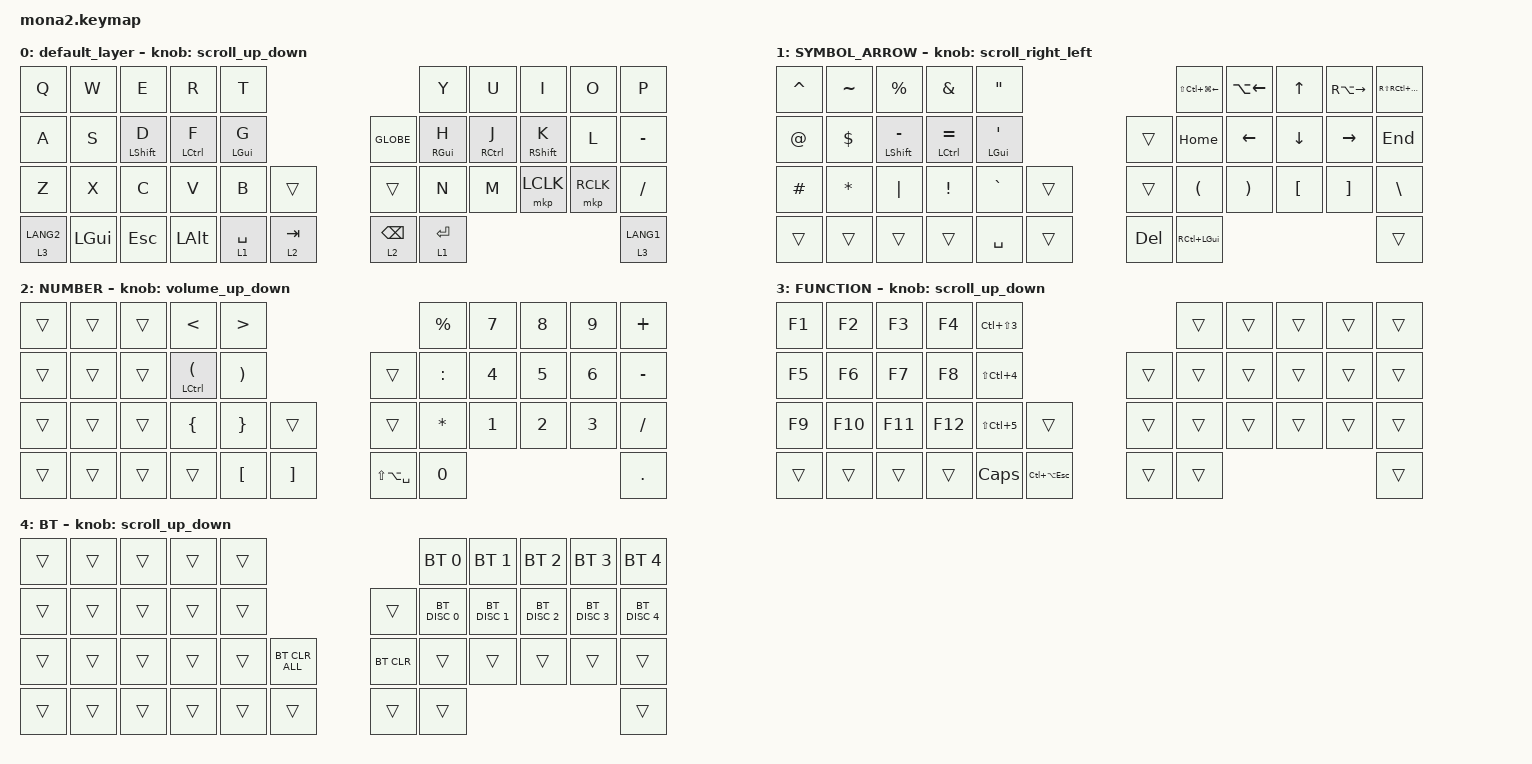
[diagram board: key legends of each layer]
#include <input/processors.dtsi>
#include <dt-bindings/zmk/input_transform.h>
#include <zephyr/dt-bindings/input/input-event-codes.h>
#include <behaviors.dtsi>
#include <dt-bindings/zmk/bt.h>
#include <dt-bindings/zmk/keys.h>
#include <dt-bindings/zmk/pointing.h>

#define ZMK_POINTING_DEFAULT_SCRL_VAL 100

&mt {
    quick-tap-ms = <0>;
    require-prior-idle-ms = <125>;
    flavor = "tap-preferred";
};

&lt {
    quick-tap-ms = <200>;
    require-prior-idle-ms = <125>;
    flavor = "balanced";
};

/ {
    behaviors {
        hmr_l: hmr_l {
            compatible = "zmk,behavior-hold-tap";
            label = "HMR_L";
            bindings = <&kp>, <&kp>;

            #binding-cells = <2>;
            tapping-term-ms = <400>;
            flavor = "balanced";
            hold-trigger-key-positions = <5 6 7 8 9 15 16 17 18 19 20 27 28 29 30 31 32 39 40 41 34 33 35 36 37 38 26>;
            hold-trigger-on-release;
            require-prior-idle-ms = <150>;
        };

        hmr_r: hmr_r {
            compatible = "zmk,behavior-hold-tap";
            label = "HMR_R";
            bindings = <&kp>, <&kp>;

            #binding-cells = <2>;
            tapping-term-ms = <400>;
            flavor = "balanced";
            hold-trigger-key-positions = <0 1 2 3 4 10 11 12 13 14 21 22 23 24 25 26 33 34 35 36 37 38 15 27 39 40 41>;
            hold-trigger-on-release;
            require-prior-idle-ms = <150>;
        };

        hmr_l2: hmr_l2 {
            compatible = "zmk,behavior-hold-tap";
            label = "HMR_L2";
            bindings = <&kp>, <&kp>;

            #binding-cells = <2>;
            tapping-term-ms = <400>;
            flavor = "balanced";
            hold-trigger-key-positions = <5 6 7 8 9 15 16 17 18 19 20 27 28 29 30 31 32 39 40 41>;
            hold-trigger-on-release;
            require-prior-idle-ms = <150>;
        };

        hmr_r2: hmr_r2 {
            compatible = "zmk,behavior-hold-tap";
            label = "HMR_R2";
            bindings = <&kp>, <&kp>;

            #binding-cells = <2>;
            tapping-term-ms = <400>;
            flavor = "balanced";
            hold-trigger-key-positions = <0 1 2 3 4 10 11 12 13 14 21 22 23 24 25 26 33 34 35 36 37 38>;
            hold-trigger-on-release;
            require-prior-idle-ms = <150>;
        };

        scroll_up_down: mouse_wheel_up_down {
            compatible = "zmk,behavior-sensor-rotate";
            #sensor-binding-cells = <0>;
            bindings = <&msc SCRL_UP>, <&msc SCRL_DOWN>;

            tap-ms = <20>;
        };

        scroll_right_left: mouse_wheel_right_left {
            compatible = "zmk,behavior-sensor-rotate";
            #sensor-binding-cells = <0>;
            bindings = <&msc SCRL_LEFT>, <&msc SCRL_RIGHT>;

            tap-ms = <20>;
        };

        volume_up_down: volume_up_down {
            compatible = "zmk,behavior-sensor-rotate";
            #sensor-binding-cells = <0>;
            bindings = <&kp C_VOL_DN>, <&kp C_VOL_UP>;

            tap-ms = <20>;
        };
    };

    combos {
        compatible = "zmk,combos";

        combo_colon {
            bindings = <&kp COLON>;
            key-positions = <14 25>;
        };

        combo_semicolon {
            bindings = <&kp SEMICOLON>;
            key-positions = <16 28>;
        };

        combo_comma {
            bindings = <&kp COMMA>;
            key-positions = <4 14>;
        };

        combo_period {
            bindings = <&kp PERIOD>;
            key-positions = <5 16>;
        };

        combo_shift_L {
            bindings = <&kp LEFT_SHIFT>;
            key-positions = <37 38>;
        };

        combo_shift_R {
            bindings = <&kp RIGHT_SHIFT>;
            key-positions = <39 40>;
        };

        combo_middle_click {
            bindings = <&mkp MCLK>;
            key-positions = <30 31>;
        };

        combo_mo_4 {
            bindings = <&mo 4>;
            key-positions = <33 41>;
        };
    };

    keymap {
        compatible = "zmk,keymap";

        default_layer {
            bindings = <
&kp Q        &kp W         &kp E                &kp R                  &kp T                                             &kp Y                &kp U                   &kp I                 &kp O      &kp P
&kp A        &kp S         &hmr_l LEFT_SHIFT D  &hmr_l LEFT_CONTROL F  &hmr_l2 LEFT_GUI G               &kp GLOBE        &hmr_r2 RIGHT_GUI H  &hmr_r RIGHT_CONTROL J  &hmr_r RIGHT_SHIFT K  &kp L      &kp MINUS
&kp Z        &kp X         &kp C                &kp V                  &kp B               &trans       &trans           &kp N                &kp M                   &mkp LCLK             &mkp RCLK  &kp SLASH
&lt 3 LANG2  &kp LEFT_GUI  &kp ESCAPE           &kp LEFT_ALT           &lt 1 SPACE         &lt 2 TAB    &lt 2 BACKSPACE  &lt 1 ENTER                                                                   &lt 3 LANG1
            >;

            sensor-bindings = <&scroll_up_down>;
        };

        SYMBOL_ARROW {
            label = "SYMBOL_ARROW";
            bindings = <
&kp CARET    &kp TILDE     &kp PERCENT              &kp AMPERSAND              &kp DOUBLE_QUOTES                                    &kp LS(LC(LG(LEFT)))  &kp LA(LEFT)           &kp UP            &kp RA(RIGHT)      &kp RS(RC(RG(RIGHT)))
&kp AT_SIGN  &kp DOLLAR    &hmr_l LEFT_SHIFT MINUS  &hmr_l LEFT_CONTROL EQUAL  &hmr_l2 LEFT_GUI SINGLE_QUOTE            &trans      &kp HOME              &kp LEFT               &kp DOWN          &kp RIGHT          &kp END
&kp HASH     &kp ASTERISK  &kp PIPE                 &kp EXCLAMATION            &kp GRAVE                      &trans    &trans      &kp LEFT_PARENTHESIS  &kp RIGHT_PARENTHESIS  &kp LEFT_BRACKET  &kp RIGHT_BRACKET  &kp BACKSLASH
&trans       &trans        &trans                   &trans                     &kp SPACE                      &trans    &kp DELETE  &kp RC(LEFT_GUI)                                                                  &trans
            >;

            sensor-bindings = <&scroll_right_left>;
        };

        NUMBER {
            label = "NUMBER";
            bindings = <
&trans  &trans  &trans  &kp LESS_THAN                         &kp GREATER_THAN                                               &kp PERCENT   &kp NUMBER_7  &kp NUMBER_8  &kp NUMBER_9  &kp PLUS
&trans  &trans  &trans  &hmr_l LEFT_CONTROL LEFT_PARENTHESIS  &kp RIGHT_PARENTHESIS                       &trans             &kp COLON     &kp NUMBER_4  &kp NUMBER_5  &kp NUMBER_6  &kp MINUS
&trans  &trans  &trans  &kp LEFT_BRACE                        &kp RIGHT_BRACE        &trans               &trans             &kp ASTERISK  &kp NUMBER_1  &kp NUMBER_2  &kp NUMBER_3  &kp SLASH
&trans  &trans  &trans  &trans                                &kp LEFT_BRACKET       &kp RIGHT_BRACKET    &kp LS(LA(SPACE))  &kp NUMBER_0                                            &kp PERIOD
            >;

            sensor-bindings = <&volume_up_down>;
        };

        FUNCTION {
            label = "FUNCTION";
            bindings = <
&kp F1  &kp F2   &kp F3   &kp F4   &kp LC(LS(NUMBER_3))                                &trans  &trans  &trans  &trans  &trans
&kp F5  &kp F6   &kp F7   &kp F8   &kp LS(LC(NUMBER_4))                        &trans  &trans  &trans  &trans  &trans  &trans
&kp F9  &kp F10  &kp F11  &kp F12  &kp LS(LC(N5))        &trans                &trans  &trans  &trans  &trans  &trans  &trans
&trans  &trans   &trans   &trans   &kp CAPSLOCK          &kp LC(LA(ESCAPE))    &trans  &trans                          &trans
            >;

            sensor-bindings = <&scroll_up_down>;
        };

        BT {
            label = "BT";
            bindings = <
&trans  &trans  &trans  &trans  &trans                                &bt BT_SEL 0   &bt BT_SEL 1   &bt BT_SEL 2   &bt BT_SEL 3   &bt BT_SEL 4
&trans  &trans  &trans  &trans  &trans                    &trans      &bt BT_DISC 0  &bt BT_DISC 1  &bt BT_DISC 2  &bt BT_DISC 3  &bt BT_DISC 4
&trans  &trans  &trans  &trans  &trans  &bt BT_CLR_ALL    &bt BT_CLR  &trans         &trans         &trans         &trans         &trans
&trans  &trans  &trans  &trans  &trans  &trans            &trans      &trans                                                      &trans
            >;

            sensor-bindings = <&scroll_up_down>;
        };
    };
};
